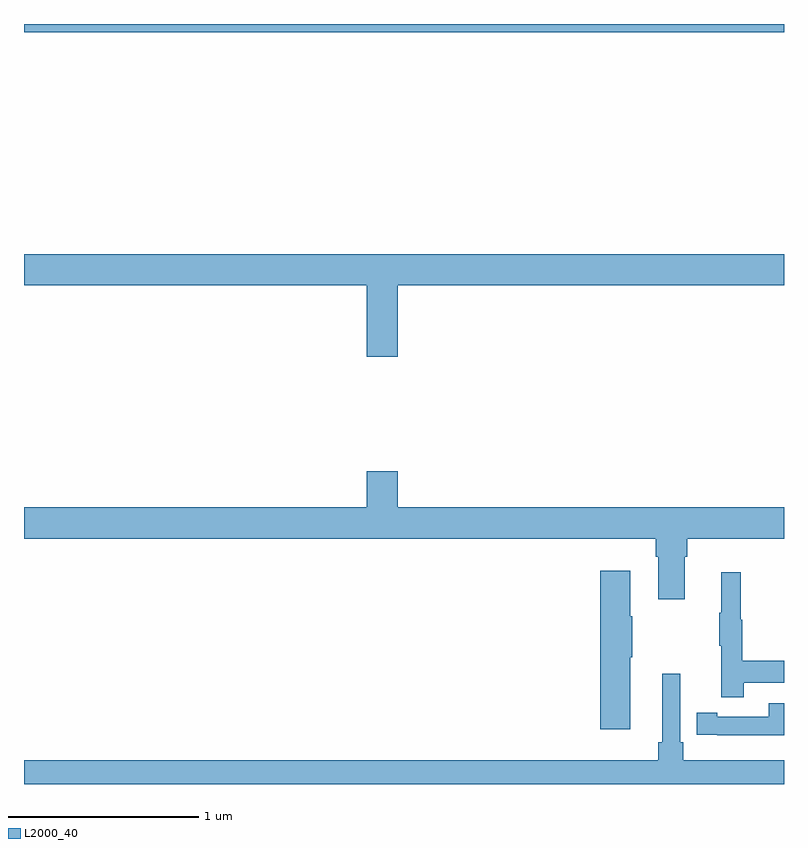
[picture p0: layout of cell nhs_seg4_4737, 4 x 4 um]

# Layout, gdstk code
import gdstk
lib = gdstk.Library(unit=1e-6, precision=1e-09)
def R(c, l, rs):  # rectangles x0, y0, x1, y1
    for r in rs: c.add(gdstk.rectangle(r[:2], r[2:], *l))
def P(c, l, *ps):  # polygons
    for p in ps: c.add(gdstk.Polygon(p, *l))
L2000_40 = (2000, 40)

nhs_seg4_4737 = lib.new_cell('nhs_seg4_4737')
R(nhs_seg4_4737, L2000_40, [(367,760.856,371,760.9)])
P(nhs_seg4_4737, L2000_40, [(368.968,759.524),(371,759.524),(371,759.688),(367,759.688),(367,759.524),(368.804,759.524),(368.804,759.15),(368.968,759.15)],
  [(370.477,758.096),(370.49,758.096),(370.49,758.192),(371,758.192),(371,758.356),(368.968,758.356),(368.968,758.545),(368.804,758.545),(368.804,758.356),(367,758.356),(367,758.192),(370.325,758.192),(370.325,758.096),(370.337,758.096),(370.337,757.872),(370.477,757.872)],
  [(370.192,757.567),(370.2,757.567),(370.2,757.784),(370.192,757.784),(370.192,758.023),(370.034,758.023),(370.034,757.188),(370.192,757.188)],
  [(370.787,757.434),(371,757.434),(371,757.55),(370.78,757.55),(370.78,757.764),(370.772,757.764),(370.772,758.014),(370.67,758.014),(370.67,757.801),(370.659,757.801),(370.659,757.627),(370.67,757.627),(370.67,757.356),(370.787,757.356)],
  [(371,757.024),(370.469,757.024),(370.469,757.12),(370.455,757.12),(370.455,757.48),(370.358,757.48),(370.358,757.12),(370.339,757.12),(370.339,757.024),(367,757.024),(367,756.9),(371,756.9)],
  [(371,757.326),(370.92,757.326),(370.92,757.254),(370.648,757.254),(370.648,757.274),(370.54,757.274),(370.54,757.158),(370.648,757.158),(370.648,757.157),(371,757.157)])

lib.write_gds('nhs_seg4_4737.gds')
